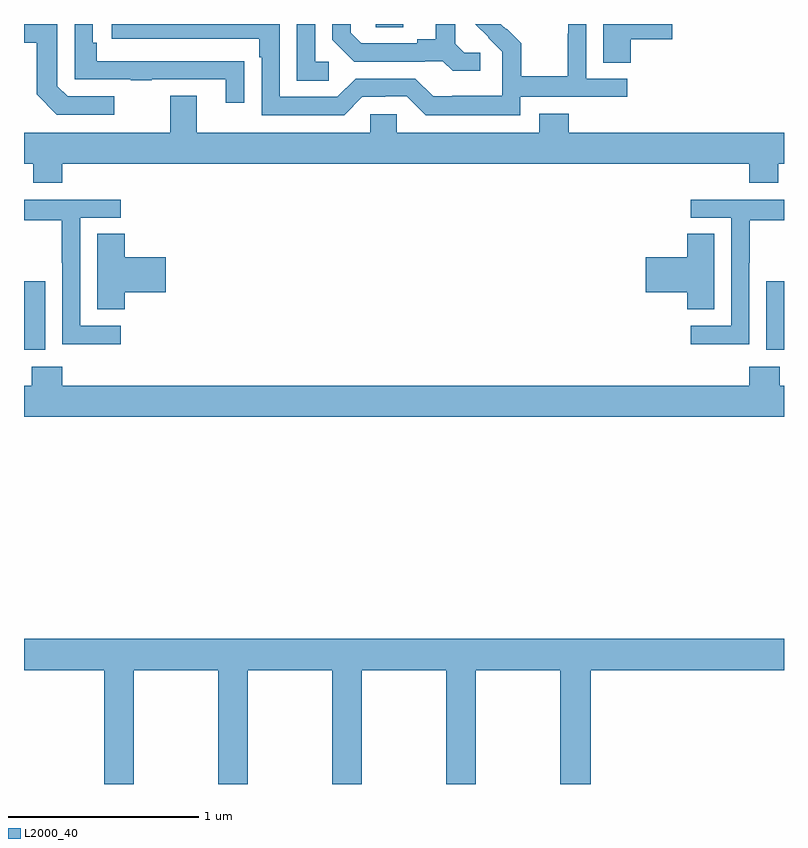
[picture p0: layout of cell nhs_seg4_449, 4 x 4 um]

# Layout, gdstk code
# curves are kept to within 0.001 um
import gdstk
lib = gdstk.Library(unit=1e-6, precision=1e-09)
def R(c, l, rs):  # rectangles x0, y0, x1, y1
    for r in rs: c.add(gdstk.rectangle(r[:2], r[2:], *l))
def P(c, l, *ps):  # polygons
    for p in ps: c.add(gdstk.Polygon(p, *l))
L2000_40 = (2000, 40)

nhs_seg4_449 = lib.new_cell('nhs_seg4_449')
R(nhs_seg4_449, L2000_40, [(133,785.186,133.111,785.547), (136.907,785.186,137,785.547), (134.85,786.883,134.995,786.9)])
P(nhs_seg4_449, L2000_40, [(135.612,786.516),(136.174,786.516),(136.174,786.612),(135.96,786.612),(135.96,786.9),(135.864,786.9),(135.864,786.848),(135.862,786.848),(135.862,786.625),(135.617,786.625),(135.617,786.799),(135.54,786.876),(135.537,786.873),(135.51,786.9),(135.374,786.9),(135.518,786.754),(135.518,786.657),(135.516,786.657),(135.516,786.523),(135.253,786.523),(135.253,786.519),(135.153,786.519),(135.06,786.612),(134.745,786.612),(134.649,786.516),(134.346,786.516),(134.346,786.9),(133.461,786.9),(133.461,786.822),(134.237,786.822),(134.237,786.725),(134.25,786.725),(134.25,786.42),(134.685,786.42),(134.781,786.516),(134.9,786.516),(134.9,786.519),(135.015,786.519),(135.115,786.419),(135.612,786.419)],
  [(133.474,786.519),(133.23,786.519),(133.176,786.573),(133.176,786.9),(133,786.9),(133,786.802),(133.068,786.802),(133.068,786.529),(133.173,786.423),(133.474,786.423)],
  [(134.605,786.702),(134.532,786.702),(134.532,786.9),(134.436,786.9),(134.436,786.601),(134.605,786.601)],
  [(135.4,786.75),(135.318,786.75),(135.271,786.797),(135.271,786.9),(135.167,786.9),(135.167,786.821),(135.071,786.821),(135.071,786.798),(134.776,786.798),(134.719,786.855),(134.719,786.9),(134.622,786.9),(134.622,786.818),(134.738,786.702),(135.11,786.702),(135.11,786.705),(135.204,786.705),(135.256,786.653),(135.4,786.653)],
  [(136.193,786.821),(136.411,786.821),(136.411,786.9),(136.049,786.9),(136.049,786.697),(136.193,786.697)],
  [(134.159,786.704),(134.057,786.704),(134.057,786.705),(133.382,786.705),(133.382,786.802),(133.362,786.802),(133.362,786.9),(133.266,786.9),(133.266,786.609),(133.561,786.609),(133.561,786.604),(133.673,786.604),(133.673,786.609),(134.063,786.609),(134.063,786.486),(134.159,786.486)],
  [(133.202,786.164),(136.817,786.164),(136.817,786.065),(136.969,786.065),(136.969,786.164),(137,786.164),(137,786.328),(135.866,786.328),(135.866,786.427),(135.713,786.427),(135.713,786.328),(134.961,786.328),(134.961,786.426),(134.823,786.426),(134.823,786.328),(133.909,786.328),(133.909,786.523),(133.769,786.523),(133.769,786.328),(133,786.328),(133,786.164),(133.049,786.164),(133.049,786.065),(133.202,786.065)],
  [(136.818,785.644),(136.821,785.644),(136.821,785.868),(137,785.868),(137,785.976),(136.509,785.976),(136.509,785.88),(136.722,785.88),(136.722,785.313),(136.509,785.313),(136.509,785.215),(136.818,785.215)],
  [(133.51,785.313),(133.296,785.313),(133.296,785.88),(133.51,785.88),(133.51,785.976),(133,785.976),(133,785.868),(133.198,785.868),(133.198,785.644),(133.2,785.644),(133.2,785.215),(133.51,785.215)],
  [(133.529,785.489),(133.747,785.489),(133.747,785.672),(133.529,785.672),(133.529,785.795),(133.385,785.795),(133.385,785.398),(133.529,785.398)],
  [(136.633,785.795),(136.49,785.795),(136.49,785.672),(136.272,785.672),(136.272,785.489),(136.49,785.489),(136.49,785.398),(136.633,785.398)],
  [(137,784.996),(136.977,784.996),(136.977,785.095),(136.817,785.095),(136.817,784.996),(133.202,784.996),(133.202,785.095),(133.042,785.095),(133.042,784.996),(133,784.996),(133,784.832),(137,784.832)],
  [(133.578,783.5),(134.023,783.5),(134.023,782.9),(134.178,782.9),(134.178,783.5),(134.623,783.5),(134.623,782.9),(134.778,782.9),(134.778,783.5),(135.223,783.5),(135.223,782.9),(135.378,782.9),(135.378,783.5),(135.823,783.5),(135.823,782.9),(135.983,782.9),(135.983,783.5),(137,783.5),(137,783.664),(133,783.664),(133,783.5),(133.423,783.5),(133.423,782.9),(133.578,782.9)])

lib.write_gds('nhs_seg4_449.gds')
